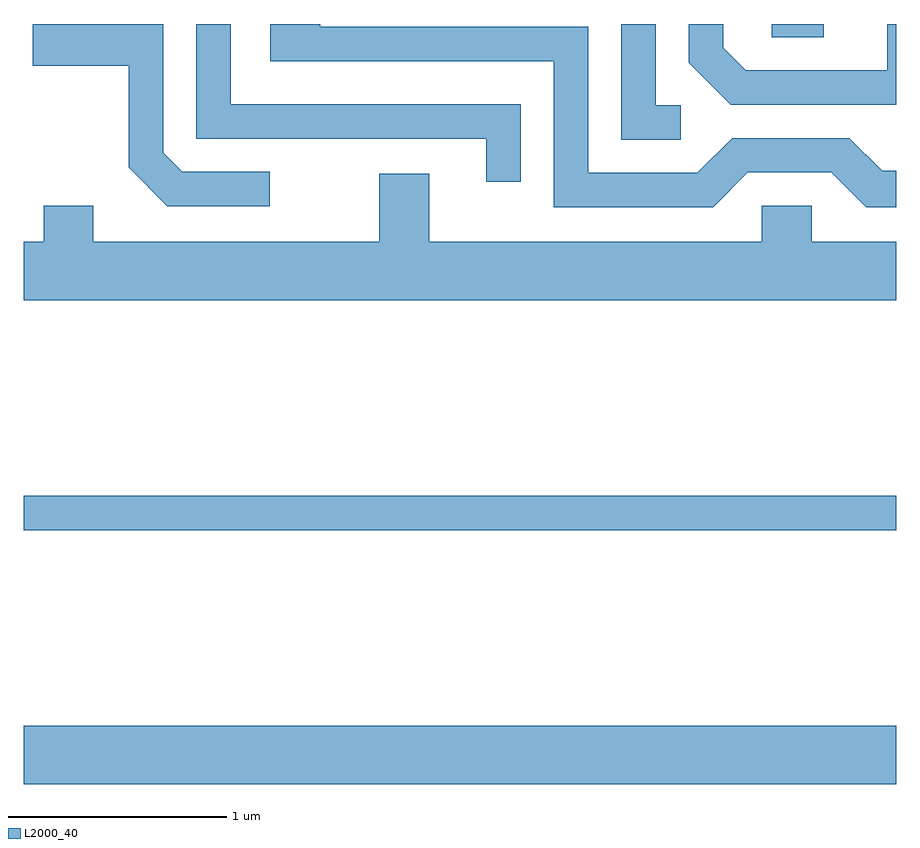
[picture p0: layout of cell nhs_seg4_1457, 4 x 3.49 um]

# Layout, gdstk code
import gdstk
lib = gdstk.Library(unit=1e-6, precision=1e-09)
def R(c, l, rs):  # rectangles x0, y0, x1, y1
    for r in rs: c.add(gdstk.rectangle(r[:2], r[2:], *l))
def P(c, l, *ps):  # polygons
    for p in ps: c.add(gdstk.Polygon(p, *l))
L2000_40 = (2000, 40)

nhs_seg4_1457 = lib.new_cell('nhs_seg4_1457')
R(nhs_seg4_1457, L2000_40, [(227.611,1312.496,231.611,1312.764), (227.611,1313.661,231.611,1313.819), (231.041,1315.921,231.279,1315.982)])
P(nhs_seg4_1457, L2000_40, [(230.623,1315.609),(230.509,1315.609),(230.509,1315.982),(230.351,1315.982),(230.351,1315.451),(230.623,1315.451)],
  [(229.889,1315.614),(228.559,1315.614),(228.559,1315.982),(228.401,1315.982),(228.401,1315.456),(229.731,1315.456),(229.731,1315.258),(229.889,1315.258)],
  [(230.932,1315.301),(231.314,1315.301),(231.474,1315.141),(231.611,1315.141),(231.611,1315.309),(231.547,1315.309),(231.397,1315.459),(230.859,1315.459),(230.699,1315.299),(230.199,1315.299),(230.199,1315.969),(228.969,1315.969),(228.969,1315.982),(228.741,1315.982),(228.741,1315.811),(230.041,1315.811),(230.041,1315.141),(230.772,1315.141)],
  [(231.611,1315.982),(231.571,1315.982),(231.571,1315.769),(230.922,1315.769),(230.819,1315.872),(230.819,1315.982),(230.661,1315.982),(230.661,1315.804),(230.854,1315.611),(231.611,1315.611)],
  [(228.738,1315.304),(228.337,1315.304),(228.249,1315.392),(228.249,1315.982),(227.651,1315.982),(227.651,1315.791),(228.091,1315.791),(228.091,1315.324),(228.269,1315.146),(228.738,1315.146)],
  [(231.611,1314.984),(231.224,1314.984),(231.224,1315.149),(230.996,1315.149),(230.996,1314.984),(229.469,1314.984),(229.469,1315.294),(229.241,1315.294),(229.241,1314.984),(227.929,1314.984),(227.929,1315.149),(227.701,1315.149),(227.701,1314.984),(227.611,1314.984),(227.611,1314.716),(231.611,1314.716)])

lib.write_gds('nhs_seg4_1457.gds')
